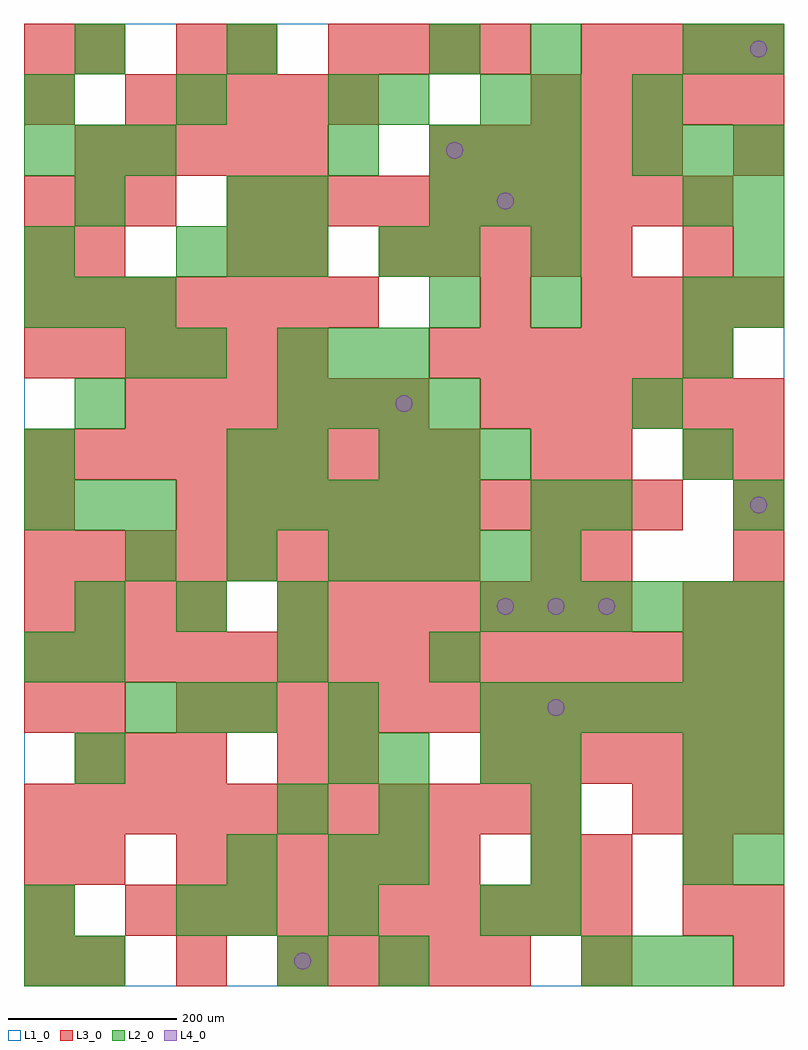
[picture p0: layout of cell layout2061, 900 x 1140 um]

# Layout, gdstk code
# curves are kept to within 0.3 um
import gdstk
lib = gdstk.Library(unit=1e-6, precision=1e-09)
def R(c, l, rs):  # rectangles x0, y0, x1, y1
    for r in rs: c.add(gdstk.rectangle(r[:2], r[2:], *l))
def A(c, l, x, y, w, h, nx, ny, dx, dy):  # array of equal rectangles
    R(c, l, [(x+i*dx, y+j*dy, x+i*dx+w, y+j*dy+h) for i in range(nx) for j in range(ny)])
def P(c, l, *ps):  # polygons
    for p in ps: c.add(gdstk.Polygon(p, *l))
L1_0 = (1, 0)
L2_0 = (2, 0)
L3_0 = (3, 0)
L4_0 = (4, 0)

layout2061 = lib.new_cell('layout2061')
R(layout2061, L1_0, [(0,0,900,1140)])
A(layout2061, L2_0, 300, 0, 60, 60, 1, 3, 0, 180)
A(layout2061, L2_0, 660, 0, 60, 60, 3, 1, 60, 0)
A(layout2061, L2_0, 420, 120, 60, 60, 3, 2, 180, 60)
A(layout2061, L2_0, 840, 120, 60, 60, 1, 3, 0, 60)
A(layout2061, L2_0, 120, 300, 60, 60, 3, 1, 60, 0)
A(layout2061, L2_0, 540, 300, 60, 60, 6, 2, 60, 120)
A(layout2061, L2_0, 0, 360, 60, 60, 1, 3, 0, 240)
A(layout2061, L2_0, 60, 420, 60, 60, 3, 1, 120, 0)
A(layout2061, L2_0, 120, 480, 60, 60, 3, 1, 120, 0)
A(layout2061, L2_0, 420, 480, 60, 60, 4, 1, 60, 0)
A(layout2061, L2_0, 0, 540, 60, 60, 3, 2, 60, 240)
A(layout2061, L2_0, 240, 540, 60, 60, 5, 1, 60, 0)
A(layout2061, L2_0, 420, 600, 60, 60, 3, 1, 60, 0)
A(layout2061, L2_0, 300, 660, 60, 60, 4, 1, 60, 0)
A(layout2061, L2_0, 300, 720, 60, 60, 3, 1, 60, 0)
A(layout2061, L2_0, 840, 780, 60, 60, 1, 3, 0, 60)
A(layout2061, L2_0, 180, 840, 60, 60, 3, 1, 60, 0)
A(layout2061, L2_0, 480, 900, 60, 60, 3, 2, 60, 60)
A(layout2061, L2_0, 0, 960, 60, 60, 3, 1, 60, 0)
A(layout2061, L2_0, 720, 960, 60, 60, 3, 1, 60, 0)
A(layout2061, L2_0, 0, 1020, 60, 60, 3, 1, 180, 0)
R(layout2061, L2_0, [(0,0,60,60), (60,0,120,60), (420,0,480,60), (0,60,60,120), (180,60,240,120), (240,60,300,120), (360,60,420,120), (540,60,600,120), (600,60,660,120), (240,120,300,180), (360,120,420,180), (60,240,120,300), (360,240,420,300), (420,240,480,300), (540,240,600,300), (600,240,660,300), (780,240,840,300), (360,300,420,360), (60,360,120,420), (480,360,540,420), (780,360,840,420), (840,360,900,420), (600,540,660,600), (660,540,720,600), (840,540,900,600), (240,600,300,660), (300,600,360,660), (780,600,840,660), (60,660,120,720), (720,660,780,720), (120,720,180,780), (180,720,240,780), (780,720,840,780), (480,780,540,840), (600,780,660,840), (780,780,840,840), (420,840,480,900), (480,840,540,900), (600,840,660,900), (60,900,120,960), (240,900,300,960), (300,900,360,960), (780,900,840,960), (360,960,420,1020), (420,1020,480,1080), (540,1020,600,1080), (600,1020,660,1080), (720,1020,780,1080), (60,1080,120,1140), (240,1080,300,1140), (480,1080,540,1140), (600,1080,660,1140), (780,1080,840,1140), (840,1080,900,1140)])
A(layout2061, L3_0, 0, 0, 60, 60, 1, 3, 0, 60)
A(layout2061, L3_0, 60, 0, 60, 60, 3, 1, 120, 0)
A(layout2061, L3_0, 360, 0, 60, 60, 4, 2, 60, 1080)
A(layout2061, L3_0, 120, 60, 60, 60, 10, 1, 60, 0)
A(layout2061, L3_0, 180, 120, 60, 60, 6, 1, 60, 0)
A(layout2061, L3_0, 0, 180, 60, 60, 11, 1, 60, 0)
A(layout2061, L3_0, 720, 180, 60, 60, 3, 1, 60, 0)
A(layout2061, L3_0, 60, 240, 60, 60, 3, 1, 60, 0)
A(layout2061, L3_0, 540, 240, 60, 60, 6, 2, 60, 420)
A(layout2061, L3_0, 180, 300, 60, 60, 12, 1, 60, 0)
A(layout2061, L3_0, 0, 360, 60, 60, 15, 1, 60, 0)
A(layout2061, L3_0, 0, 420, 60, 60, 4, 1, 60, 0)
A(layout2061, L3_0, 300, 420, 60, 60, 7, 1, 60, 0)
A(layout2061, L3_0, 840, 420, 60, 60, 1, 4, 0, 60)
A(layout2061, L3_0, 0, 480, 60, 60, 9, 2, 60, 120)
A(layout2061, L3_0, 180, 540, 60, 60, 10, 1, 60, 0)
A(layout2061, L3_0, 120, 660, 60, 60, 6, 1, 60, 0)
A(layout2061, L3_0, 0, 720, 60, 60, 6, 1, 60, 0)
A(layout2061, L3_0, 480, 720, 60, 60, 6, 1, 60, 0)
A(layout2061, L3_0, 0, 780, 60, 60, 7, 1, 60, 0)
A(layout2061, L3_0, 660, 780, 60, 60, 4, 2, 60, 300)
A(layout2061, L3_0, 420, 840, 60, 60, 5, 1, 60, 0)
A(layout2061, L3_0, 0, 900, 60, 60, 3, 1, 60, 0)
A(layout2061, L3_0, 240, 900, 60, 60, 10, 1, 60, 0)
A(layout2061, L3_0, 60, 960, 60, 60, 5, 1, 60, 0)
A(layout2061, L3_0, 480, 960, 60, 60, 5, 1, 60, 0)
A(layout2061, L3_0, 120, 1020, 60, 60, 5, 1, 60, 0)
A(layout2061, L3_0, 600, 1020, 60, 60, 5, 1, 60, 0)
R(layout2061, L3_0, [(660,0,720,60), (840,0,900,60), (780,60,840,120), (840,60,900,120), (60,120,120,180), (600,120,660,180), (660,120,720,180), (780,120,840,180), (300,240,360,300), (360,240,420,300), (0,300,60,360), (60,300,120,360), (780,420,840,480), (600,480,660,540), (660,480,720,540), (0,540,60,600), (600,600,660,660), (660,600,720,660), (780,600,840,660), (540,780,600,840), (0,840,60,900), (60,840,120,900), (240,840,300,900), (300,840,360,900), (780,840,840,900), (840,960,900,1020), (0,1020,60,1080), (0,1080,60,1140), (60,1080,120,1140), (180,1080,240,1140), (240,1080,300,1140)])
P(layout2061, L4_0, [(340,30),(339.239,33.827),(337.071,37.071),(333.827,39.239),(330,40),(326.173,39.239),(322.929,37.071),(320.761,33.827),(320,30),(320.761,26.173),(322.929,22.929),(326.173,20.761),(330,20),(333.827,20.761),(337.071,22.929),(339.239,26.173)],
  [(460,690),(459.239,693.827),(457.071,697.071),(453.827,699.239),(450,700),(446.173,699.239),(442.929,697.071),(440.761,693.827),(440,690),(440.761,686.173),(442.929,682.929),(446.173,680.761),(450,680),(453.827,680.761),(457.071,682.929),(459.239,686.173)],
  [(520,990),(519.239,993.827),(517.071,997.071),(513.827,999.239),(510,1000),(506.173,999.239),(502.929,997.071),(500.761,993.827),(500,990),(500.761,986.173),(502.929,982.929),(506.173,980.761),(510,980),(513.827,980.761),(517.071,982.929),(519.239,986.173)],
  [(580,450),(579.239,453.827),(577.071,457.071),(573.827,459.239),(570,460),(566.173,459.239),(562.929,457.071),(560.761,453.827),(560,450),(560.761,446.173),(562.929,442.929),(566.173,440.761),(570,440),(573.827,440.761),(577.071,442.929),(579.239,446.173)],
  [(580,930),(579.239,933.827),(577.071,937.071),(573.827,939.239),(570,940),(566.173,939.239),(562.929,937.071),(560.761,933.827),(560,930),(560.761,926.173),(562.929,922.929),(566.173,920.761),(570,920),(573.827,920.761),(577.071,922.929),(579.239,926.173)],
  [(640,330),(639.239,333.827),(637.071,337.071),(633.827,339.239),(630,340),(626.173,339.239),(622.929,337.071),(620.761,333.827),(620,330),(620.761,326.173),(622.929,322.929),(626.173,320.761),(630,320),(633.827,320.761),(637.071,322.929),(639.239,326.173)],
  [(640,450),(639.239,453.827),(637.071,457.071),(633.827,459.239),(630,460),(626.173,459.239),(622.929,457.071),(620.761,453.827),(620,450),(620.761,446.173),(622.929,442.929),(626.173,440.761),(630,440),(633.827,440.761),(637.071,442.929),(639.239,446.173)],
  [(700,450),(699.239,453.827),(697.071,457.071),(693.827,459.239),(690,460),(686.173,459.239),(682.929,457.071),(680.761,453.827),(680,450),(680.761,446.173),(682.929,442.929),(686.173,440.761),(690,440),(693.827,440.761),(697.071,442.929),(699.239,446.173)],
  [(880,570),(879.239,573.827),(877.071,577.071),(873.827,579.239),(870,580),(866.173,579.239),(862.929,577.071),(860.761,573.827),(860,570),(860.761,566.173),(862.929,562.929),(866.173,560.761),(870,560),(873.827,560.761),(877.071,562.929),(879.239,566.173)],
  [(880,1110),(879.239,1113.827),(877.071,1117.071),(873.827,1119.239),(870,1120),(866.173,1119.239),(862.929,1117.071),(860.761,1113.827),(860,1110),(860.761,1106.173),(862.929,1102.929),(866.173,1100.761),(870,1100),(873.827,1100.761),(877.071,1102.929),(879.239,1106.173)])

lib.write_gds('layout2061.gds')
